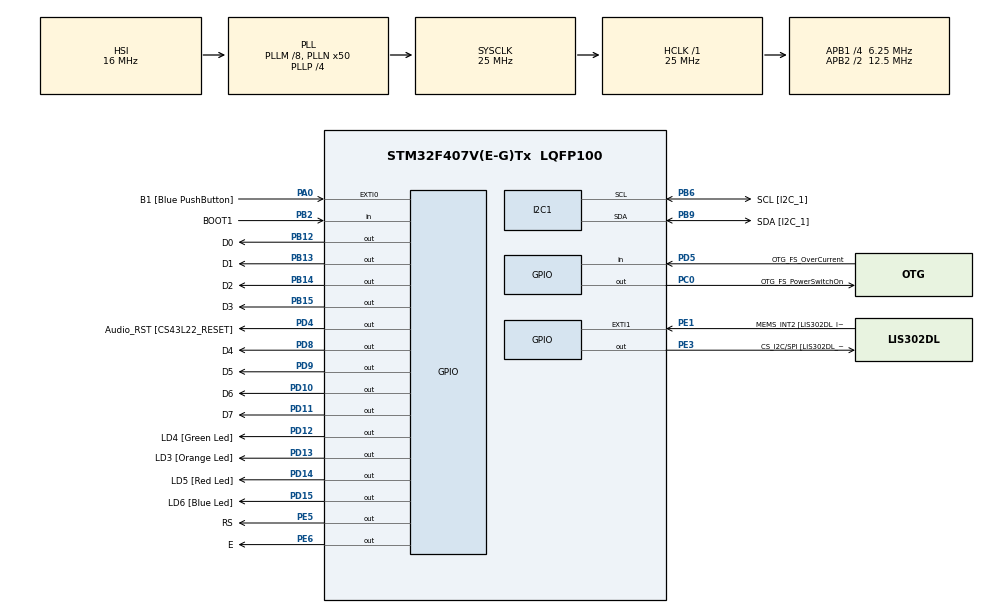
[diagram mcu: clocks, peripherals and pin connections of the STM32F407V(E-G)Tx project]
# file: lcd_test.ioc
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Mcu.Family=STM32F4
Mcu.Name=STM32F407V(E-G)Tx
Mcu.Package=LQFP100
NVIC.PriorityGroup=NVIC_PRIORITYGROUP_0
PA0-WKUP.GPIO_Label=B1 [Blue PushButton]
PA0-WKUP.Signal=GPXTI0
PA10.GPIO_Label=OTG_FS_ID
PA10.GPIO_Mode=GPIO_MODE_AF_PP
PA10.GPIO_PuPd=GPIO_NOPULL
PA10.GPIO_Speed=GPIO_SPEED_FREQ_LOW
PA10.Signal=USB_OTG_FS_ID
PA11.GPIO_Label=OTG_FS_DM
PA11.GPIO_Mode=GPIO_MODE_AF_PP
PA11.GPIO_PuPd=GPIO_NOPULL
PA11.GPIO_Speed=GPIO_SPEED_FREQ_LOW
PA11.Signal=USB_OTG_FS_DM
PA12.GPIO_Label=OTG_FS_DP
PA12.GPIO_Mode=GPIO_MODE_AF_PP
PA12.GPIO_PuPd=GPIO_NOPULL
PA12.GPIO_Speed=GPIO_SPEED_FREQ_LOW
PA12.Signal=USB_OTG_FS_DP
PA13.GPIO_Label=SWDIO
PA13.Signal=SYS_JTMS-SWDIO
PA14.GPIO_Label=SWCLK
PA14.Signal=SYS_JTCK-SWCLK
PA4.GPIO_Label=I2S3_WS [CS43L22_LRCK]
PA4.GPIO_Mode=GPIO_MODE_AF_PP
PA4.GPIO_PuPd=GPIO_NOPULL
PA4.GPIO_Speed=GPIO_SPEED_FREQ_LOW
PA4.Signal=I2S3_WS
PA5.GPIO_Label=SPI1_SCK [LIS302DL_SCL/SPC]
PA5.GPIO_Mode=GPIO_MODE_AF_PP
PA5.GPIO_PuPd=GPIO_NOPULL
PA5.GPIO_Speed=GPIO_SPEED_FREQ_LOW
PA5.Signal=SPI1_SCK
PA6.GPIO_Label=SPI1_MISO [LIS302DL_SDO]
PA6.GPIO_Mode=GPIO_MODE_AF_PP
PA6.GPIO_PuPd=GPIO_NOPULL
PA6.GPIO_Speed=GPIO_SPEED_FREQ_LOW
PA6.Signal=SPI1_MISO
PA7.GPIO_Label=SPI1_MOSI [LIS302DL_SDA/SDI/SDO]
PA7.GPIO_Mode=GPIO_MODE_AF_PP
PA7.GPIO_PuPd=GPIO_NOPULL
PA7.GPIO_Speed=GPIO_SPEED_FREQ_LOW
PA7.Signal=SPI1_MOSI
PA9.GPIO_Label=VBUS_FS
PA9.GPIO_Mode=GPIO_MODE_INPUT
PA9.GPIO_PuPd=GPIO_NOPULL
PA9.Signal=USB_OTG_FS_VBUS
PB10.GPIO_Label=CLK_IN [MP45DT02_CLK]
PB10.GPIO_Mode=GPIO_MODE_AF_PP
PB10.GPIO_PuPd=GPIO_NOPULL
PB10.GPIO_Speed=GPIO_SPEED_FREQ_LOW
PB10.Signal=I2S2_CK
PB12.GPIO_Label=D0
PB12.Signal=GPIO_Output
PB13.GPIO_Label=D1
PB13.Signal=GPIO_Output
PB14.GPIO_Label=D2
PB14.Signal=GPIO_Output
PB15.GPIO_Label=D3
PB15.Signal=GPIO_Output
PB2.GPIO_Label=BOOT1
PB2.GPIO_Mode=GPIO_MODE_INPUT
PB2.GPIO_PuPd=GPIO_NOPULL
PB2.Signal=GPIO_Input
PB3.GPIO_Label=SWO
PB3.Signal=SYS_JTDO-SWO
PB6.GPIO_Label=SCL [I2C_1]
PB6.GPIO_Mode=GPIO_MODE_AF_OD
PB6.GPIO_Pu=GPIO_PULLUP
PB6.GPIO_PuPd=GPIO_NOPULL
PB6.GPIO_Speed=GPIO_SPEED_FREQ_LOW
PB6.Mode=I2C
PB6.Signal=I2C1_SCL
PB9.GPIO_Label=SDA [I2C_1]
PB9.GPIO_Mode=GPIO_MODE_AF_OD
PB9.GPIO_Pu=GPIO_PULLUP
PB9.GPIO_PuPd=GPIO_NOPULL
PB9.GPIO_Speed=GPIO_SPEED_FREQ_LOW
PB9.Mode=I2C
PB9.Signal=I2C1_SDA
PC0.GPIO_Label=OTG_FS_PowerSwitchOn
PC0.GPIO_PuPd=GPIO_NOPULL
PC0.GPIO_Speed=GPIO_SPEED_FREQ_LOW
PC0.PinState=GPIO_PIN_SET
PC0.Signal=GPIO_Output
PC10.GPIO_Label=I2S3_SCK [CS43L22_SCLK]
PC10.GPIO_Mode=GPIO_MODE_AF_PP
PC10.GPIO_PuPd=GPIO_NOPULL
PC10.GPIO_Speed=GPIO_SPEED_FREQ_LOW
PC10.Signal=I2S3_CK
PC12.GPIO_Label=I2S3_SD [CS43L22_SDIN]
PC12.GPIO_Mode=GPIO_MODE_AF_PP
PC12.GPIO_PuPd=GPIO_NOPULL
PC12.GPIO_Speed=GPIO_SPEED_FREQ_LOW
PC12.Signal=I2S3_SD
PC14-OSC32_IN.GPIO_Label=PC14-OSC32_IN
PC14-OSC32_IN.Signal=RCC_OSC32_IN
PC15-OSC32_OUT.GPIO_Label=PC15-OSC32_OUT
PC15-OSC32_OUT.Signal=RCC_OSC32_OUT
PC3.GPIO_Label=PDM_OUT [MP45DT02_DOUT]
PC3.GPIO_Mode=GPIO_MODE_AF_PP
PC3.GPIO_PuPd=GPIO_NOPULL
PC3.GPIO_Speed=GPIO_SPEED_FREQ_LOW
PC3.Signal=I2S2_SD
PC7.GPIO_Label=I2S3_MCK [CS43L22_MCLK]
PC7.GPIO_Mode=GPIO_MODE_AF_PP
PC7.GPIO_PuPd=GPIO_NOPULL
PC7.GPIO_Speed=GPIO_SPEED_FREQ_LOW
PC7.Signal=I2S3_MCK
PD10.GPIO_Label=D6
PD10.Signal=GPIO_Output
PD11.GPIO_Label=D7
PD11.Signal=GPIO_Output
PD12.GPIO_Label=LD4 [Green Led]
PD12.GPIO_PuPd=GPIO_NOPULL
PD12.GPIO_Speed=GPIO_SPEED_FREQ_LOW
PD12.Signal=GPIO_Output
PD13.GPIO_Label=LD3 [Orange Led]
PD13.GPIO_PuPd=GPIO_NOPULL
PD13.GPIO_Speed=GPIO_SPEED_FREQ_LOW
PD13.Signal=GPIO_Output
PD14.GPIO_Label=LD5 [Red Led]
PD14.GPIO_PuPd=GPIO_NOPULL
PD14.GPIO_Speed=GPIO_SPEED_FREQ_LOW
PD14.Signal=GPIO_Output
PD15.GPIO_Label=LD6 [Blue Led]
PD15.GPIO_PuPd=GPIO_NOPULL
PD15.GPIO_Speed=GPIO_SPEED_FREQ_LOW
PD15.Signal=GPIO_Output
PD4.GPIO_Label=Audio_RST [CS43L22_RESET]
PD4.GPIO_PuPd=GPIO_NOPULL
PD4.GPIO_Speed=GPIO_SPEED_FREQ_LOW
PD4.Signal=GPIO_Output
PD5.GPIO_Label=OTG_FS_OverCurrent
PD5.GPIO_Mode=GPIO_MODE_INPUT
PD5.GPIO_PuPd=GPIO_NOPULL
PD5.Signal=GPIO_Input
PD8.GPIO_Label=D4
PD8.Signal=GPIO_Output
PD9.GPIO_Label=D5
PD9.Signal=GPIO_Output
PE1.GPIO_Label=MEMS_INT2 [LIS302DL_INT2]
PE1.GPIO_ModeDefaultEXTI=GPIO_MODE_EVT_RISING
PE1.GPIO_PuPd=GPIO_NOPULL
PE1.Signal=GPXTI1
PE3.GPIO_Label=CS_I2C/SPI [LIS302DL_CS_I2C/SPI]
PE3.GPIO_PuPd=GPIO_NOPULL
PE3.GPIO_Speed=GPIO_SPEED_FREQ_LOW
PE3.Signal=GPIO_Output
PE5.GPIO_Label=RS
PE5.Signal=GPIO_Output
PE6.GPIO_Label=E
PE6.Signal=GPIO_Output
PH0-OSC_IN.GPIO_Label=PH0-OSC_IN
PH0-OSC_IN.Signal=RCC_OSC_IN
PH1-OSC_OUT.GPIO_Label=PH1-OSC_OUT
PH1-OSC_OUT.Signal=RCC_OSC_OUT
ProjectManager.HeapSize=0x200
ProjectManager.StackSize=0x400
ProjectManager.TargetToolchain=STM32CubeIDE
RCC.48MHZClocksFreq_Value=14285714.285714285
RCC.AHBFreq_Value=25000000
RCC.APB1CLKDivider=RCC_HCLK_DIV4
RCC.APB1Freq_Value=6250000
RCC.APB1TimFreq_Value=12500000
RCC.APB2CLKDivider=RCC_HCLK_DIV2
RCC.APB2Freq_Value=12500000
RCC.APB2TimFreq_Value=25000000
RCC.CortexFreq_Value=25000000
RCC.HCLKFreq_Value=25000000
RCC.HSE_VALUE=8000000
RCC.HSI_VALUE=16000000
RCC.LSE_VALUE=32768
RCC.PLLM=8
RCC.PLLN=50
RCC.PLLP=RCC_PLLP_DIV4
RCC.PLLQ=7
RCC.SYSCLKFreq_VALUE=25000000
RCC.SYSCLKSource=RCC_SYSCLKSOURCE_PLLCLK
RCC.VCOOutputFreq_Value=100000000
board=STM32F407G-DISC1

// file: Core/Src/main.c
/* USER CODE BEGIN Header */
/**
  ******************************************************************************
  * @file           : main.c
  * @brief          : Main program body
  ******************************************************************************
  * @attention
  *
  * Copyright (c) 2023 STMicroelectronics.
  * All rights reserved.
  *
  * This software is licensed under terms that can be found in the LICENSE file
  * in the root directory of this software component.
  * If no LICENSE file comes with this software, it is provided AS-IS.
  *
  ******************************************************************************
  */
/* USER CODE END Header */
#include "main.h"
#include "i2c.h"
#include "gpio.h"

/* USER CODE BEGIN Includes */
#include "STM_MY_LCD16X2.h"
/* USER CODE END Includes */

/* USER CODE BEGIN PV */
#define mpu9265Address 0x68<<1
/* USER CODE END PV */

void SystemClock_Config(void);

/* USER CODE BEGIN 0 */
void getAcceleration(int16_t* x, int16_t* y, int16_t* z);
void getAccelerationMEM(int16_t* x, int16_t* y, int16_t* z);
void getRotationMEM(int16_t* x, int16_t* y, int16_t* z);
void getCompasMEM(int16_t* x, int16_t* y, int16_t* z);

uint8_t i2cBuf[8];
int16_t	ax,ay,az;
float Xaccel, Yaccel, Zaccel;
/* USER CODE END 0 */

int main(void)
{

  /* MCU Configuration--------------------------------------------------------*/

  /* Reset of all peripherals, Initializes the Flash interface and the Systick. */
  HAL_Init();

  /* Configure the system clock */
  SystemClock_Config();

  /* Initialize all configured peripherals */
  MX_GPIO_Init();
  MX_I2C1_Init();
  /* USER CODE BEGIN 2 */
  LCD1602_Begin8BIT(RS_GPIO_Port, RS_Pin, E_Pin, D0_GPIO_Port, D0_Pin, D1_Pin, D2_Pin, D3_Pin, D4_GPIO_Port, D4_Pin, D5_Pin, D6_Pin, D7_Pin);
  LCD1602_noBlink();
  LCD1602_noCursor();

  i2cBuf[0] = 0x18;
  //init accelerometer for +-16g
  HAL_I2C_Mem_Write(&hi2c1, 0x68<<1, 0x1C, 1, i2cBuf, 1, 10);

  i2cBuf[0] = 0x18;
  //init accelerometer for +-2000 dps
  HAL_I2C_Mem_Write(&hi2c1, 0x68<<1, 0x1B, 1, i2cBuf, 1, 10);

  LCD1602_print("x:");
  LCD1602_setCursor(1, 10);
  LCD1602_print("z:");
  LCD1602_2ndLine();
  LCD1602_print("y:");

  /* USER CODE END 2 */

  /* Infinite loop */
  /* USER CODE BEGIN WHILE */
  while (1)
  {
	  //HAL_I2C_Mem_Read(&hi2c1, mpu9265Address, 0x3B, 2, &i2cBuf[1], 2, 100);

	  /*getAccelerationMEM(&ax, &ay, &az);
	  Xaccel = ax/2048.0;
	  Yaccel = ay/2048.0;
	  Zaccel = az/2048.0;*/

	  /*getRotationMEM(&ax, &ay, &az);
	  Xaccel = ax/16.384;
	  Yaccel = ay/16.384;
	  Zaccel = az/16.384;*/

	  getCompasMEM(&ax, &ay, &az);
	  Xaccel = ax/1.7066666666666666666666666666667;
	  Yaccel = ay/1.7066666666666666666666666666667;
	  Zaccel = az/1.7066666666666666666666666666667;

	  LCD1602_setCursor(1, 3);
	  if(Xaccel > 0) LCD1602_print(" ");
	  LCD1602_PrintFloat(Xaccel, 2);

	  LCD1602_setCursor(1, 12);
	  if(Zaccel > 0) LCD1602_print(" ");
	  LCD1602_PrintFloat(Zaccel, 2);

	  LCD1602_setCursor(2, 3);
	  if(Yaccel > 0) LCD1602_print(" ");
	  LCD1602_PrintFloat(Yaccel, 2);

	  HAL_Delay((int)(1000/10));

	  /*LCD1602_clear();
	  LCD1602_print("Hello World");
	  LCD1602_2ndLine();
	  LCD1602_print("Patrick Here!");
	  HAL_Delay(1000);
	  LCD1602_clear();
	  LCD1602_PrintInt(1234);
	  HAL_Delay(1000);
	  LCD1602_2ndLine();
	  LCD1602_PrintFloat(1234.567, 2);
	  HAL_Delay(1000);*/
    /* USER CODE END WHILE */

  }
}

void SystemClock_Config(void)
{
  RCC_OscInitTypeDef RCC_OscInitStruct = {0};
  RCC_ClkInitTypeDef RCC_ClkInitStruct = {0};

  /** Configure the main internal regulator output voltage
  */
  __HAL_RCC_PWR_CLK_ENABLE();
  __HAL_PWR_VOLTAGESCALING_CONFIG(PWR_REGULATOR_VOLTAGE_SCALE1);

  /** Initializes the RCC Oscillators according to the specified parameters
  * in the RCC_OscInitTypeDef structure.
  */
  RCC_OscInitStruct.OscillatorType = RCC_OSCILLATORTYPE_HSI;
  RCC_OscInitStruct.HSIState = RCC_HSI_ON;
  RCC_OscInitStruct.HSICalibrationValue = RCC_HSICALIBRATION_DEFAULT;
  RCC_OscInitStruct.PLL.PLLState = RCC_PLL_ON;
  RCC_OscInitStruct.PLL.PLLSource = RCC_PLLSOURCE_HSI;
  RCC_OscInitStruct.PLL.PLLM = 8;
  RCC_OscInitStruct.PLL.PLLN = 50;
  RCC_OscInitStruct.PLL.PLLP = RCC_PLLP_DIV4;
  RCC_OscInitStruct.PLL.PLLQ = 7;
  if (HAL_RCC_OscConfig(&RCC_OscInitStruct) != HAL_OK)
  {
    Error_Handler();
  }

  /** Initializes the CPU, AHB and APB buses clocks
  */
  RCC_ClkInitStruct.ClockType = RCC_CLOCKTYPE_HCLK|RCC_CLOCKTYPE_SYSCLK
                              |RCC_CLOCKTYPE_PCLK1|RCC_CLOCKTYPE_PCLK2;
  RCC_ClkInitStruct.SYSCLKSource = RCC_SYSCLKSOURCE_PLLCLK;
  RCC_ClkInitStruct.AHBCLKDivider = RCC_SYSCLK_DIV1;
  RCC_ClkInitStruct.APB1CLKDivider = RCC_HCLK_DIV4;
  RCC_ClkInitStruct.APB2CLKDivider = RCC_HCLK_DIV2;

  if (HAL_RCC_ClockConfig(&RCC_ClkInitStruct, FLASH_LATENCY_0) != HAL_OK)
  {
    Error_Handler();
  }
}

/* USER CODE BEGIN 4 */

void getAcceleration(int16_t* x, int16_t* y, int16_t* z)
{
	i2cBuf[0] = 0x3B;
	HAL_I2C_Master_Transmit(&hi2c1, mpu9265Address, i2cBuf, 1, 10);

	HAL_I2C_Master_Receive(&hi2c1, mpu9265Address, &i2cBuf[1], 6, 10);

	*x = i2cBuf[1]<<8 | i2cBuf[2];
	*y = i2cBuf[3]<<8 | i2cBuf[4];
	*z = i2cBuf[5]<<8 | i2cBuf[6];

	return;
}

void getAccelerationMEM(int16_t* x, int16_t* y, int16_t* z)
{
	HAL_I2C_Mem_Read(&hi2c1, mpu9265Address, 0x3B, 1, &i2cBuf[1], 6, 100);

	*x = (int16_t)(i2cBuf[1]<<8 | i2cBuf[2]);
	*y = (int16_t)(i2cBuf[3]<<8 | i2cBuf[4]);
	*z = (int16_t)(i2cBuf[5]<<8 | i2cBuf[6]);

	return;
}

void getRotationMEM(int16_t* x, int16_t* y, int16_t* z)
{
	HAL_I2C_Mem_Read(&hi2c1, mpu9265Address, 0x3B, 1, &i2cBuf[1], 6, 100);

	*x = (int16_t)(i2cBuf[1]<<8 | i2cBuf[2]);
	*y = (int16_t)(i2cBuf[3]<<8 | i2cBuf[4]);
	*z = (int16_t)(i2cBuf[5]<<8 | i2cBuf[6]);

	return;
}

void getCompasMEM(int16_t* x, int16_t* y, int16_t* z)
{
	i2cBuf[0] = 0x02;
	HAL_I2C_Mem_Write(&hi2c1, mpu9265Address, 0x37, 1, i2cBuf, 1, 100);	//przepuść mnie do kompasa

	i2cBuf[0] = 0x01;
	HAL_I2C_Mem_Write(&hi2c1, 0x0C<<1, 0x0A, 1, i2cBuf, 1, 100);		//zrób pomiar kompasem okok

	HAL_Delay(100);		// delay bo kompas musi się zmierzyć, zamiast delaya można poczekać aż rejestr ST_1, da się ustawić na continuous mode w CNTL1

	HAL_I2C_Mem_Read(&hi2c1, 0x0C<<1, 0x03, 1, &i2cBuf[1], 6, 100);		//odczytaj kompas

	*x = ((int16_t)i2cBuf[2]<<8) | i2cBuf[1];
	*y = ((int16_t)i2cBuf[4]<<8) | i2cBuf[3];
	*z = ((int16_t)i2cBuf[6]<<8) | i2cBuf[5];

	return;
}

/* USER CODE END 4 */

void Error_Handler(void)
{
  __disable_irq();
  while (1)
  {
  }
}
